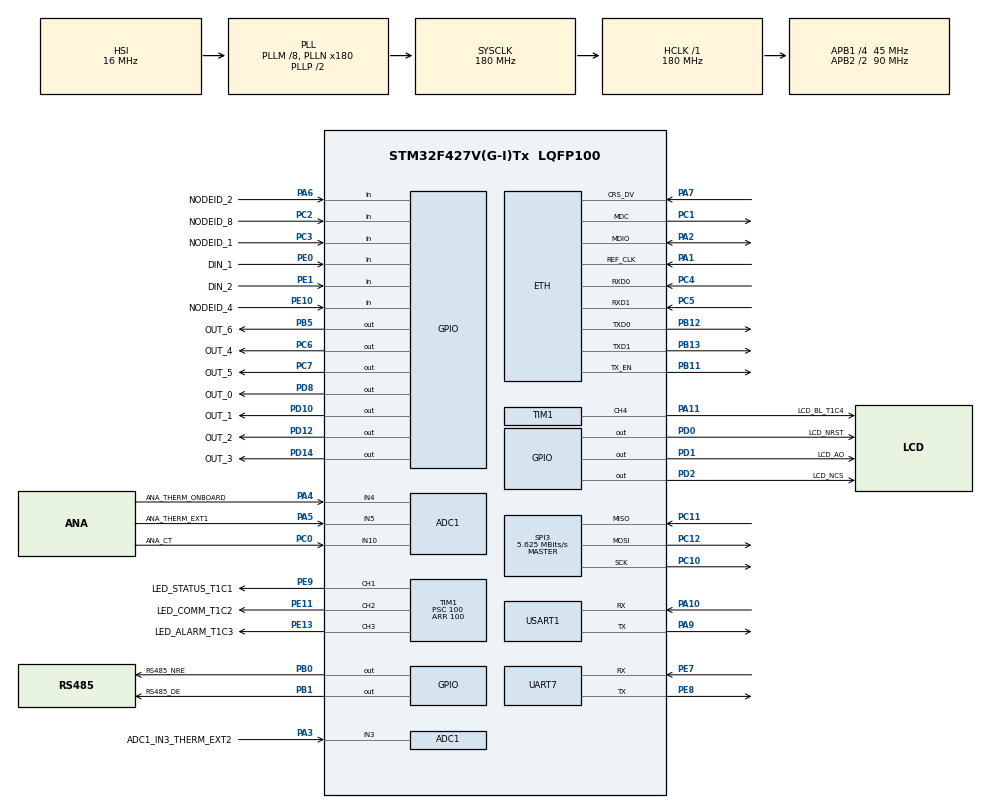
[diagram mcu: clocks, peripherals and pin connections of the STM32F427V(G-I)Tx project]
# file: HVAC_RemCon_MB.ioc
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ADC1.Channel-0\#ChannelRegularConversion=ADC_CHANNEL_TEMPSENSOR
ADC1.Channel-1\#ChannelRegularConversion=ADC_CHANNEL_4
ADC1.Channel-2\#ChannelRegularConversion=ADC_CHANNEL_5
ADC1.Channel-3\#ChannelRegularConversion=ADC_CHANNEL_3
ADC1.Channel-4\#ChannelRegularConversion=ADC_CHANNEL_10
ADC1.ClockPrescaler=ADC_CLOCK_SYNC_PCLK_DIV8
ADC1.ContinuousConvMode=ENABLE
ADC1.DMAContinuousRequests=ENABLE
ADC1.NbrOfConversion=5
ADC1.NbrOfConversionFlag=1
ADC1.Rank-0\#ChannelRegularConversion=1
ADC1.Rank-1\#ChannelRegularConversion=2
ADC1.Rank-2\#ChannelRegularConversion=3
ADC1.Rank-3\#ChannelRegularConversion=4
ADC1.Rank-4\#ChannelRegularConversion=5
ADC1.SamplingTime-0\#ChannelRegularConversion=ADC_SAMPLETIME_480CYCLES
ADC1.SamplingTime-1\#ChannelRegularConversion=ADC_SAMPLETIME_480CYCLES
ADC1.SamplingTime-2\#ChannelRegularConversion=ADC_SAMPLETIME_480CYCLES
ADC1.SamplingTime-3\#ChannelRegularConversion=ADC_SAMPLETIME_480CYCLES
ADC1.SamplingTime-4\#ChannelRegularConversion=ADC_SAMPLETIME_480CYCLES
ADC1.master=1
Dma.ADC1.0.Direction=DMA_PERIPH_TO_MEMORY
Dma.ADC1.0.FIFOMode=DMA_FIFOMODE_DISABLE
Dma.ADC1.0.Instance=DMA2_Stream0
Dma.ADC1.0.MemDataAlignment=DMA_MDATAALIGN_WORD
Dma.ADC1.0.MemInc=DMA_MINC_ENABLE
Dma.ADC1.0.Mode=DMA_CIRCULAR
Dma.ADC1.0.PeriphDataAlignment=DMA_PDATAALIGN_WORD
Dma.ADC1.0.PeriphInc=DMA_PINC_DISABLE
Dma.ADC1.0.Priority=DMA_PRIORITY_LOW
Dma.Request0=ADC1
Dma.Request1=USART1_RX
Dma.Request2=USART1_TX
Dma.Request3=UART7_RX
Dma.Request4=UART7_TX
Dma.Request5=SPI3_TX
Dma.SPI3_TX.5.Direction=DMA_MEMORY_TO_PERIPH
Dma.SPI3_TX.5.FIFOMode=DMA_FIFOMODE_DISABLE
Dma.SPI3_TX.5.Instance=DMA1_Stream5
Dma.SPI3_TX.5.MemDataAlignment=DMA_MDATAALIGN_BYTE
Dma.SPI3_TX.5.MemInc=DMA_MINC_ENABLE
Dma.SPI3_TX.5.Mode=DMA_NORMAL
Dma.SPI3_TX.5.PeriphDataAlignment=DMA_PDATAALIGN_BYTE
Dma.SPI3_TX.5.PeriphInc=DMA_PINC_DISABLE
Dma.SPI3_TX.5.Priority=DMA_PRIORITY_LOW
Dma.UART7_RX.3.Direction=DMA_PERIPH_TO_MEMORY
Dma.UART7_RX.3.FIFOMode=DMA_FIFOMODE_DISABLE
Dma.UART7_RX.3.Instance=DMA1_Stream3
Dma.UART7_RX.3.MemDataAlignment=DMA_MDATAALIGN_BYTE
Dma.UART7_RX.3.MemInc=DMA_MINC_ENABLE
Dma.UART7_RX.3.Mode=DMA_NORMAL
Dma.UART7_RX.3.PeriphDataAlignment=DMA_PDATAALIGN_BYTE
Dma.UART7_RX.3.PeriphInc=DMA_PINC_DISABLE
Dma.UART7_RX.3.Priority=DMA_PRIORITY_LOW
Dma.UART7_TX.4.Direction=DMA_MEMORY_TO_PERIPH
Dma.UART7_TX.4.FIFOMode=DMA_FIFOMODE_DISABLE
Dma.UART7_TX.4.Instance=DMA1_Stream1
Dma.UART7_TX.4.MemDataAlignment=DMA_MDATAALIGN_BYTE
Dma.UART7_TX.4.MemInc=DMA_MINC_ENABLE
Dma.UART7_TX.4.Mode=DMA_NORMAL
Dma.UART7_TX.4.PeriphDataAlignment=DMA_PDATAALIGN_BYTE
Dma.UART7_TX.4.PeriphInc=DMA_PINC_DISABLE
Dma.UART7_TX.4.Priority=DMA_PRIORITY_LOW
Dma.USART1_RX.1.Direction=DMA_PERIPH_TO_MEMORY
Dma.USART1_RX.1.FIFOMode=DMA_FIFOMODE_DISABLE
Dma.USART1_RX.1.Instance=DMA2_Stream2
Dma.USART1_RX.1.MemDataAlignment=DMA_MDATAALIGN_BYTE
Dma.USART1_RX.1.MemInc=DMA_MINC_ENABLE
Dma.USART1_RX.1.Mode=DMA_NORMAL
Dma.USART1_RX.1.PeriphDataAlignment=DMA_PDATAALIGN_BYTE
Dma.USART1_RX.1.PeriphInc=DMA_PINC_DISABLE
Dma.USART1_RX.1.Priority=DMA_PRIORITY_LOW
Dma.USART1_TX.2.Direction=DMA_MEMORY_TO_PERIPH
Dma.USART1_TX.2.FIFOMode=DMA_FIFOMODE_DISABLE
Dma.USART1_TX.2.Instance=DMA2_Stream7
Dma.USART1_TX.2.MemDataAlignment=DMA_MDATAALIGN_BYTE
Dma.USART1_TX.2.MemInc=DMA_MINC_ENABLE
Dma.USART1_TX.2.Mode=DMA_NORMAL
Dma.USART1_TX.2.PeriphDataAlignment=DMA_PDATAALIGN_BYTE
Dma.USART1_TX.2.PeriphInc=DMA_PINC_DISABLE
Dma.USART1_TX.2.Priority=DMA_PRIORITY_LOW
ETH.MediaInterface=HAL_ETH_RMII_MODE
LWIP.BSP.number=1
LWIP.ETHARP_TABLE_MATCH_NETIF=0
LWIP.HTTPD_USE_CUSTOM_FSDATA=1
LWIP.LWIP_DHCP=1
LWIP.LWIP_HTTPD=1
LWIP.LWIP_HTTPD_CGI=1
LWIP.LWIP_HTTPD_CGI_SSI=0
LWIP.LWIP_HTTPD_CUSTOM_FILES=1
LWIP.LWIP_HTTPD_DYNAMIC_HEADERS=1
LWIP.LWIP_HTTPD_SSI_BY_FILE_EXTENSION=0
LWIP.MEMP_NUM_NETCONN=10
LWIP.MEM_SIZE=16000
LWIP.TCP_WND_UPDATE_THRESHOLD=536
LWIP.Version=v2.1.2_Cube
LWIP0.BSP.STBoard=false
LWIP0.BSP.api=BSP_COMPONENT_DRIVER
LWIP0.BSP.component=LAN8742
LWIP0.BSP.instance=LAN8742
LWIP0.BSP.name=Driver_PHY
LWIP0.BSP.semaphore=S_LAN8742
LWIP0.BSP.solution=LAN8742
Mcu.Family=STM32F4
Mcu.Name=STM32F427V(G-I)Tx
Mcu.Package=LQFP100
NVIC.DMA1_Stream1_IRQn=true\:0\:0\:false\:false\:true\:false\:true\:true
NVIC.DMA1_Stream3_IRQn=true\:0\:0\:false\:false\:true\:false\:true\:true
NVIC.DMA1_Stream5_IRQn=true\:0\:0\:false\:false\:true\:false\:true\:true
NVIC.DMA2_Stream0_IRQn=true\:0\:0\:false\:false\:true\:false\:true\:true
NVIC.DMA2_Stream2_IRQn=true\:0\:0\:false\:false\:true\:false\:true\:true
NVIC.DMA2_Stream7_IRQn=true\:0\:0\:false\:false\:true\:false\:true\:true
NVIC.PriorityGroup=NVIC_PRIORITYGROUP_4
PA1.Mode=RMII
PA1.Signal=ETH_REF_CLK
PA10.Mode=Asynchronous
PA10.Signal=USART1_RX
PA11.GPIO_Label=LCD_BL_T1C4
PA11.Signal=S_TIM1_CH4
PA13.Mode=Serial_Wire
PA13.Signal=SYS_JTMS-SWDIO
PA14.Mode=Serial_Wire
PA14.Signal=SYS_JTCK-SWCLK
PA2.Mode=RMII
PA2.Signal=ETH_MDIO
PA3.GPIO_Label=ADC1_IN3_THERM_EXT2
PA3.Signal=ADCx_IN3
PA4.GPIO_Label=ANA_THERM_ONBOARD
PA4.Signal=ADCx_IN4
PA5.GPIO_Label=ANA_THERM_EXT1
PA5.Signal=ADCx_IN5
PA6.GPIO_Label=NODEID_2
PA6.GPIO_PuPd=GPIO_PULLDOWN
PA6.Signal=GPIO_Input
PA7.Mode=RMII
PA7.Signal=ETH_CRS_DV
PA9.Mode=Asynchronous
PA9.Signal=USART1_TX
PB0.GPIO_Label=RS485_NRE
PB0.Signal=GPIO_Output
PB1.GPIO_Label=RS485_DE
PB1.Signal=GPIO_Output
PB11.Mode=RMII
PB11.Signal=ETH_TX_EN
PB12.Mode=RMII
PB12.Signal=ETH_TXD0
PB13.Mode=RMII
PB13.Signal=ETH_TXD1
PB5.GPIO_Label=OUT_6
PB5.Signal=GPIO_Output
PC0.GPIO_Label=ANA_CT
PC0.Signal=ADCx_IN10
PC1.Mode=RMII
PC1.Signal=ETH_MDC
PC10.Mode=Full_Duplex_Master
PC10.Signal=SPI3_SCK
PC11.Mode=Full_Duplex_Master
PC11.Signal=SPI3_MISO
PC12.Mode=Full_Duplex_Master
PC12.Signal=SPI3_MOSI
PC14/OSC32_IN.Mode=LSE-External-Oscillator
PC14/OSC32_IN.Signal=RCC_OSC32_IN
PC15/OSC32_OUT.Mode=LSE-External-Oscillator
PC15/OSC32_OUT.Signal=RCC_OSC32_OUT
PC2.GPIO_Label=NODEID_8
PC2.GPIO_PuPd=GPIO_PULLDOWN
PC2.Signal=GPIO_Input
PC3.GPIO_Label=NODEID_1
PC3.GPIO_PuPd=GPIO_PULLDOWN
PC3.Signal=GPIO_Input
PC4.Mode=RMII
PC4.Signal=ETH_RXD0
PC5.Mode=RMII
PC5.Signal=ETH_RXD1
PC6.GPIO_Label=OUT_4
PC6.Signal=GPIO_Output
PC7.GPIO_Label=OUT_5
PC7.Signal=GPIO_Output
PD0.GPIO_Label=LCD_NRST
PD0.PinState=GPIO_PIN_SET
PD0.Signal=GPIO_Output
PD1.GPIO_Label=LCD_AO
PD1.Signal=GPIO_Output
PD10.GPIO_Label=OUT_1
PD10.Signal=GPIO_Output
PD12.GPIO_Label=OUT_2
PD12.Signal=GPIO_Output
PD14.GPIO_Label=OUT_3
PD14.Signal=GPIO_Output
PD2.GPIO_Label=LCD_NCS
PD2.PinState=GPIO_PIN_SET
PD2.Signal=GPIO_Output
PD8.GPIO_Label=OUT_0
PD8.Signal=GPIO_Output
PE0.GPIO_Label=DIN_1
PE0.Signal=GPIO_Input
PE1.GPIO_Label=DIN_2
PE1.Signal=GPIO_Input
PE10.GPIO_Label=NODEID_4
PE10.GPIO_PuPd=GPIO_PULLDOWN
PE10.Signal=GPIO_Input
PE11.GPIO_Label=LED_COMM_T1C2
PE11.Signal=S_TIM1_CH2
PE13.GPIO_Label=LED_ALARM_T1C3
PE13.Signal=S_TIM1_CH3
PE7.Mode=Asynchronous
PE7.Signal=UART7_RX
PE8.Mode=Asynchronous
PE8.Signal=UART7_TX
PE9.GPIO_Label=LED_STATUS_T1C1
PE9.Signal=S_TIM1_CH1
PH0/OSC_IN.Mode=HSE-External-Oscillator
PH0/OSC_IN.Signal=RCC_OSC_IN
PH1/OSC_OUT.Mode=HSE-External-Oscillator
PH1/OSC_OUT.Signal=RCC_OSC_OUT
ProjectManager.HeapSize=0x200
ProjectManager.StackSize=0x400
ProjectManager.TargetToolchain=STM32CubeIDE
RCC.48MHZClocksFreq_Value=90000000
RCC.AHBFreq_Value=180000000
RCC.APB1CLKDivider=RCC_HCLK_DIV4
RCC.APB1Freq_Value=45000000
RCC.APB1TimFreq_Value=90000000
RCC.APB2CLKDivider=RCC_HCLK_DIV2
RCC.APB2Freq_Value=90000000
RCC.APB2TimFreq_Value=180000000
RCC.CortexFreq_Value=180000000
RCC.HCLKFreq_Value=180000000
RCC.HSE_VALUE=8000000
RCC.HSI_VALUE=16000000
RCC.PLLM=8
RCC.PLLN=180
RCC.RCC_RTC_Clock_Source=RCC_RTCCLKSOURCE_LSE
RCC.RCC_RTC_Clock_SourceVirtual=RCC_RTCCLKSOURCE_LSE
RCC.SYSCLKFreq_VALUE=180000000
RCC.SYSCLKSource=RCC_SYSCLKSOURCE_PLLCLK
RCC.VCOOutputFreq_Value=360000000
SH.ADCx_IN10.0=ADC1_IN10,IN10
SH.ADCx_IN3.0=ADC1_IN3,IN3
SH.ADCx_IN4.0=ADC1_IN4,IN4
SH.ADCx_IN5.0=ADC1_IN5,IN5
SH.S_TIM1_CH1.0=TIM1_CH1,PWM Generation1 CH1
SH.S_TIM1_CH2.0=TIM1_CH2,PWM Generation2 CH2
SH.S_TIM1_CH3.0=TIM1_CH3,PWM Generation3 CH3
SH.S_TIM1_CH4.0=TIM1_CH4,PWM Generation4 CH4
SPI3.BaudRatePrescaler=SPI_BAUDRATEPRESCALER_8
SPI3.CalculateBaudRate=5.625 MBits/s
SPI3.Direction=SPI_DIRECTION_2LINES
SPI3.Mode=SPI_MODE_MASTER
SPI3.VirtualType=VM_MASTER
TIM1.Channel-PWM\ Generation1\ CH1=TIM_CHANNEL_1
TIM1.Channel-PWM\ Generation2\ CH2=TIM_CHANNEL_2
TIM1.Channel-PWM\ Generation3\ CH3=TIM_CHANNEL_3
TIM1.Channel-PWM\ Generation4\ CH4=TIM_CHANNEL_4
TIM1.OCPolarity_4=TIM_OCPOLARITY_LOW
TIM1.Period=100
TIM1.Prescaler=100
UART7.VirtualMode=Asynchronous
USART1.VirtualMode=VM_ASYNC
VP_ADC1_TempSens_Input.Mode=IN-TempSens
VP_LWIP_VS_Enabled.Mode=Enabled
board=custom

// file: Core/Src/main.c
/* USER CODE BEGIN Header */
/**
  ******************************************************************************
  * @file           : main.c
  * @brief          : Main program body
  ******************************************************************************
  * @attention
  *
  * Copyright (c) 2025 STMicroelectronics.
  * All rights reserved.
  *
  * This software is licensed under terms that can be found in the LICENSE file
  * in the root directory of this software component.
  * If no LICENSE file comes with this software, it is provided AS-IS.
  *
  ******************************************************************************
  */
/* USER CODE END Header */
#include "main.h"
#include "lwip.h"

/* USER CODE BEGIN Includes */
#include "nodeid.h"
#include "httpd.h"
#include "modbus_tcp.h"
#include "io_core.h"
#include "sysstatus.h"
#include "webserver.h"
#include "mqtt_client.h"
#include "lwip/netif.h"

/* USER CODE END Includes */

ADC_HandleTypeDef hadc1;
DMA_HandleTypeDef hdma_adc1;

SPI_HandleTypeDef hspi3;
DMA_HandleTypeDef hdma_spi3_tx;

TIM_HandleTypeDef htim1;

UART_HandleTypeDef huart7;
UART_HandleTypeDef huart1;
DMA_HandleTypeDef hdma_uart7_rx;
DMA_HandleTypeDef hdma_uart7_tx;
DMA_HandleTypeDef hdma_usart1_rx;
DMA_HandleTypeDef hdma_usart1_tx;

/* USER CODE BEGIN PV */
extern struct netif gnetif;  // Declared in MX_LWIP_Init()

uint8_t nodeid = 15;  //0 is reserved for host controller.
uint8_t last_nodeid = 16;	//setting it different from cur_nodeip so the display will update on first loop.

uint32_t cur_ipaddr = 0;
uint32_t last_ipaddr = 1;	//setting it different from cur_ipaddr so the display will update on first loop

uint32_t digIoLastChecked = 0;  //timer for tracking when it's time to check the dig io for display update
uint32_t digIoCheckInterval = 100;  //How many milliseconds in between io checks for display
uint8_t curInVals = 0;
uint8_t lastInVals = 255;
uint8_t curOutVals = 0;
uint8_t lastOutVals = 255;

float curTempVals[5] = {0};
float lastTempVals[5] = {-100};
uint32_t lastCheckedTemp = 0;
uint32_t tempCheckInterval = 1000;
eTempScale displayTempScale = celcius;// fahrenheit;

//uint32_t anaInLastChecked = 0;
//uint32_t anaInCheckInterval = 100;
//uint16_t curAnaVals[5] = {0};
//uint16_t lastAnaVals[5] = {0xFFFF};

/* USER CODE END PV */

void SystemClock_Config(void);
static void MX_GPIO_Init(void);
static void MX_DMA_Init(void);
static void MX_SPI3_Init(void);
static void MX_USART1_UART_Init(void);
static void MX_ADC1_Init(void);
static void MX_UART7_Init(void);
static void MX_TIM1_Init(void);
/* USER CODE BEGIN PFP */

void checkNodeId(void);
void checkIpAddr(void);
void updateDislayIO(void);
void updateDisplayTemp(void);

/* USER CODE END PFP */

/* USER CODE BEGIN 0 */

void checkNodeId(void){
	nodeid = NodeId_Get();
	if(last_nodeid != nodeid){
		last_nodeid = nodeid;
		SysStatus_UpdateNodeId(nodeid);
	}
}

void checkIpAddr(void){
	cur_ipaddr = gnetif.ip_addr.addr;
	if(last_ipaddr != cur_ipaddr){
		last_ipaddr = cur_ipaddr;
		SysStatus_UpdateIP(cur_ipaddr);
	}
}

void updateDislayIO(void){
	if(HAL_GetTick() - digIoLastChecked >= digIoCheckInterval){
		curInVals = IO_GetInputBank();
		if(lastInVals != curInVals){
			lastInVals = curInVals;
			SysStatus_UpdateInputsDisplay(curInVals);
		}

		curOutVals = IO_GetOutputLatch();
		if(lastOutVals != curOutVals){
			lastOutVals = curOutVals;
			SysStatus_UpdateOutputsDisplay(curOutVals);
		}
		digIoLastChecked = HAL_GetTick();
	}

}

void updateDisplayTemp(void){
	if(HAL_GetTick() - lastCheckedTemp >= tempCheckInterval){
		float tempDiff = 0.0f;
		for(uint8_t n=0; n<6; n++){
			curTempVals[n] = IO_GetAnalogIn(n, displayTempScale);
			tempDiff = (curTempVals[n] > lastTempVals[n] ? curTempVals[n] - lastTempVals[n] : lastTempVals[n] - curTempVals[n]);
			if(tempDiff >= 0.3){
				lastTempVals[n] = curTempVals[n];
				SysStatus_UpdateTempDisplay(n, curTempVals[n]);
			}
		}
		lastCheckedTemp = HAL_GetTick();
	}
}

/* USER CODE END 0 */

int main(void)
{

  /* MCU Configuration--------------------------------------------------------*/

  /* Reset of all peripherals, Initializes the Flash interface and the Systick. */
  HAL_Init();

  /* Configure the system clock */
  SystemClock_Config();

  /* Initialize all configured peripherals */
  MX_GPIO_Init();
  MX_DMA_Init();
  MX_SPI3_Init();
  MX_USART1_UART_Init();
  MX_LWIP_Init();
  MX_ADC1_Init();
  MX_UART7_Init();
  MX_TIM1_Init();
  /* USER CODE BEGIN 2 */

  	  SysStatus_Init(&htim1, &hspi3);
  	  IO_Core_Init(&hadc1);
  	  HAL_Delay(1000);	//Just to show splash screen
  	  SysStatus_SetSystemState(SYSTEM_STATE_BOOT);

  	  checkNodeId();	//This will read the id and update the lcd display.
  	  ModbusTCP_Init(nodeid);
  	  WebServer_Init();
  	  MQTT_Client_Init();

  /* USER CODE END 2 */

  /* Infinite loop */
  /* USER CODE BEGIN WHILE */
  while (1)
  {
	  MX_LWIP_Process();

	  // Update system state based on Ethernet link + IP
	  if (netif_is_link_up(&gnetif) && dhcp_supplied_address(&gnetif)) {
		  SysStatus_SetSystemState(SYSTEM_STATE_STABLE);
	  } else {
		  SysStatus_SetSystemState(SYSTEM_STATE_BOOT);
	  }

	  checkNodeId();
	  checkIpAddr();

	  SysStatus_Process();

	  updateDislayIO();
	  updateDisplayTemp();

	  MQTT_Client_Process();

    /* USER CODE END WHILE */

  }
}

void SystemClock_Config(void)
{
  RCC_OscInitTypeDef RCC_OscInitStruct = {0};
  RCC_ClkInitTypeDef RCC_ClkInitStruct = {0};

  /** Configure the main internal regulator output voltage
  */
  __HAL_RCC_PWR_CLK_ENABLE();
  __HAL_PWR_VOLTAGESCALING_CONFIG(PWR_REGULATOR_VOLTAGE_SCALE1);

  /** Initializes the RCC Oscillators according to the specified parameters
  * in the RCC_OscInitTypeDef structure.
  */
  RCC_OscInitStruct.OscillatorType = RCC_OSCILLATORTYPE_HSI;
  RCC_OscInitStruct.HSIState = RCC_HSI_ON;
  RCC_OscInitStruct.HSICalibrationValue = RCC_HSICALIBRATION_DEFAULT;
  RCC_OscInitStruct.PLL.PLLState = RCC_PLL_ON;
  RCC_OscInitStruct.PLL.PLLSource = RCC_PLLSOURCE_HSI;
  RCC_OscInitStruct.PLL.PLLM = 8;
  RCC_OscInitStruct.PLL.PLLN = 180;
  RCC_OscInitStruct.PLL.PLLP = RCC_PLLP_DIV2;
  RCC_OscInitStruct.PLL.PLLQ = 4;
  if (HAL_RCC_OscConfig(&RCC_OscInitStruct) != HAL_OK)
  {
    Error_Handler();
  }

  /** Activate the Over-Drive mode
  */
  if (HAL_PWREx_EnableOverDrive() != HAL_OK)
  {
    Error_Handler();
  }

  /** Initializes the CPU, AHB and APB buses clocks
  */
  RCC_ClkInitStruct.ClockType = RCC_CLOCKTYPE_HCLK|RCC_CLOCKTYPE_SYSCLK
                              |RCC_CLOCKTYPE_PCLK1|RCC_CLOCKTYPE_PCLK2;
  RCC_ClkInitStruct.SYSCLKSource = RCC_SYSCLKSOURCE_PLLCLK;
  RCC_ClkInitStruct.AHBCLKDivider = RCC_SYSCLK_DIV1;
  RCC_ClkInitStruct.APB1CLKDivider = RCC_HCLK_DIV4;
  RCC_ClkInitStruct.APB2CLKDivider = RCC_HCLK_DIV2;

  if (HAL_RCC_ClockConfig(&RCC_ClkInitStruct, FLASH_LATENCY_5) != HAL_OK)
  {
    Error_Handler();
  }
}

static void MX_ADC1_Init(void)
{

  ADC_ChannelConfTypeDef sConfig = {0};

  /** Configure the global features of the ADC (Clock, Resolution, Data Alignment and number of conversion)
  */
  hadc1.Instance = ADC1;
  hadc1.Init.ClockPrescaler = ADC_CLOCK_SYNC_PCLK_DIV8;
  hadc1.Init.Resolution = ADC_RESOLUTION_12B;
  hadc1.Init.ScanConvMode = ENABLE;
  hadc1.Init.ContinuousConvMode = ENABLE;
  hadc1.Init.DiscontinuousConvMode = DISABLE;
  hadc1.Init.ExternalTrigConvEdge = ADC_EXTERNALTRIGCONVEDGE_NONE;
  hadc1.Init.ExternalTrigConv = ADC_SOFTWARE_START;
  hadc1.Init.DataAlign = ADC_DATAALIGN_RIGHT;
  hadc1.Init.NbrOfConversion = 5;
  hadc1.Init.DMAContinuousRequests = ENABLE;
  hadc1.Init.EOCSelection = ADC_EOC_SINGLE_CONV;
  if (HAL_ADC_Init(&hadc1) != HAL_OK)
  {
    Error_Handler();
  }

  /** Configure for the selected ADC regular channel its corresponding rank in the sequencer and its sample time.
  */
  sConfig.Channel = ADC_CHANNEL_TEMPSENSOR;
  sConfig.Rank = 1;
  sConfig.SamplingTime = ADC_SAMPLETIME_480CYCLES;
  if (HAL_ADC_ConfigChannel(&hadc1, &sConfig) != HAL_OK)
  {
    Error_Handler();
  }

  /** Configure for the selected ADC regular channel its corresponding rank in the sequencer and its sample time.
  */
  sConfig.Channel = ADC_CHANNEL_4;
  sConfig.Rank = 2;
  if (HAL_ADC_ConfigChannel(&hadc1, &sConfig) != HAL_OK)
  {
    Error_Handler();
  }

  /** Configure for the selected ADC regular channel its corresponding rank in the sequencer and its sample time.
  */
  sConfig.Channel = ADC_CHANNEL_5;
  sConfig.Rank = 3;
  if (HAL_ADC_ConfigChannel(&hadc1, &sConfig) != HAL_OK)
  {
    Error_Handler();
  }

  /** Configure for the selected ADC regular channel its corresponding rank in the sequencer and its sample time.
  */
  sConfig.Channel = ADC_CHANNEL_3;
  sConfig.Rank = 4;
  if (HAL_ADC_ConfigChannel(&hadc1, &sConfig) != HAL_OK)
  {
    Error_Handler();
  }

  /** Configure for the selected ADC regular channel its corresponding rank in the sequencer and its sample time.
  */
  sConfig.Channel = ADC_CHANNEL_10;
  sConfig.Rank = 5;
  if (HAL_ADC_ConfigChannel(&hadc1, &sConfig) != HAL_OK)
  {
    Error_Handler();
  }

}

static void MX_SPI3_Init(void)
{

  /* SPI3 parameter configuration*/
  hspi3.Instance = SPI3;
  hspi3.Init.Mode = SPI_MODE_MASTER;
  hspi3.Init.Direction = SPI_DIRECTION_2LINES;
  hspi3.Init.DataSize = SPI_DATASIZE_8BIT;
  hspi3.Init.CLKPolarity = SPI_POLARITY_LOW;
  hspi3.Init.CLKPhase = SPI_PHASE_1EDGE;
  hspi3.Init.NSS = SPI_NSS_SOFT;
  hspi3.Init.BaudRatePrescaler = SPI_BAUDRATEPRESCALER_8;
  hspi3.Init.FirstBit = SPI_FIRSTBIT_MSB;
  hspi3.Init.TIMode = SPI_TIMODE_DISABLE;
  hspi3.Init.CRCCalculation = SPI_CRCCALCULATION_DISABLE;
  hspi3.Init.CRCPolynomial = 10;
  if (HAL_SPI_Init(&hspi3) != HAL_OK)
  {
    Error_Handler();
  }

}

static void MX_TIM1_Init(void)
{

  TIM_MasterConfigTypeDef sMasterConfig = {0};
  TIM_OC_InitTypeDef sConfigOC = {0};
  TIM_BreakDeadTimeConfigTypeDef sBreakDeadTimeConfig = {0};

  htim1.Instance = TIM1;
  htim1.Init.Prescaler = 100;
  htim1.Init.CounterMode = TIM_COUNTERMODE_UP;
  htim1.Init.Period = 100;
  htim1.Init.ClockDivision = TIM_CLOCKDIVISION_DIV1;
  htim1.Init.RepetitionCounter = 0;
  htim1.Init.AutoReloadPreload = TIM_AUTORELOAD_PRELOAD_DISABLE;
  if (HAL_TIM_PWM_Init(&htim1) != HAL_OK)
  {
    Error_Handler();
  }
  sMasterConfig.MasterOutputTrigger = TIM_TRGO_RESET;
  sMasterConfig.MasterSlaveMode = TIM_MASTERSLAVEMODE_DISABLE;
  if (HAL_TIMEx_MasterConfigSynchronization(&htim1, &sMasterConfig) != HAL_OK)
  {
    Error_Handler();
  }
  sConfigOC.OCMode = TIM_OCMODE_PWM1;
  sConfigOC.Pulse = 0;
  sConfigOC.OCPolarity = TIM_OCPOLARITY_HIGH;
  sConfigOC.OCNPolarity = TIM_OCNPOLARITY_HIGH;
  sConfigOC.OCFastMode = TIM_OCFAST_DISABLE;
  sConfigOC.OCIdleState = TIM_OCIDLESTATE_RESET;
  sConfigOC.OCNIdleState = TIM_OCNIDLESTATE_RESET;
  if (HAL_TIM_PWM_ConfigChannel(&htim1, &sConfigOC, TIM_CHANNEL_1) != HAL_OK)
  {
    Error_Handler();
  }
  if (HAL_TIM_PWM_ConfigChannel(&htim1, &sConfigOC, TIM_CHANNEL_2) != HAL_OK)
  {
    Error_Handler();
  }
  if (HAL_TIM_PWM_ConfigChannel(&htim1, &sConfigOC, TIM_CHANNEL_3) != HAL_OK)
  {
    Error_Handler();
  }
  sConfigOC.OCPolarity = TIM_OCPOLARITY_LOW;
  if (HAL_TIM_PWM_ConfigChannel(&htim1, &sConfigOC, TIM_CHANNEL_4) != HAL_OK)
  {
    Error_Handler();
  }
  sBreakDeadTimeConfig.OffStateRunMode = TIM_OSSR_DISABLE;
  sBreakDeadTimeConfig.OffStateIDLEMode = TIM_OSSI_DISABLE;
  sBreakDeadTimeConfig.LockLevel = TIM_LOCKLEVEL_OFF;
  sBreakDeadTimeConfig.DeadTime = 0;
  sBreakDeadTimeConfig.BreakState = TIM_BREAK_DISABLE;
  sBreakDeadTimeConfig.BreakPolarity = TIM_BREAKPOLARITY_HIGH;
  sBreakDeadTimeConfig.AutomaticOutput = TIM_AUTOMATICOUTPUT_DISABLE;
  if (HAL_TIMEx_ConfigBreakDeadTime(&htim1, &sBreakDeadTimeConfig) != HAL_OK)
  {
    Error_Handler();
  }
  HAL_TIM_MspPostInit(&htim1);

}

static void MX_UART7_Init(void)
{

  huart7.Instance = UART7;
  huart7.Init.BaudRate = 115200;
  huart7.Init.WordLength = UART_WORDLENGTH_8B;
  huart7.Init.StopBits = UART_STOPBITS_1;
  huart7.Init.Parity = UART_PARITY_NONE;
  huart7.Init.Mode = UART_MODE_TX_RX;
  huart7.Init.HwFlowCtl = UART_HWCONTROL_NONE;
  huart7.Init.OverSampling = UART_OVERSAMPLING_16;
  if (HAL_UART_Init(&huart7) != HAL_OK)
  {
    Error_Handler();
  }

}

static void MX_USART1_UART_Init(void)
{

  huart1.Instance = USART1;
  huart1.Init.BaudRate = 115200;
  huart1.Init.WordLength = UART_WORDLENGTH_8B;
  huart1.Init.StopBits = UART_STOPBITS_1;
  huart1.Init.Parity = UART_PARITY_NONE;
  huart1.Init.Mode = UART_MODE_TX_RX;
  huart1.Init.HwFlowCtl = UART_HWCONTROL_NONE;
  huart1.Init.OverSampling = UART_OVERSAMPLING_16;
  if (HAL_UART_Init(&huart1) != HAL_OK)
  {
    Error_Handler();
  }

}

static void MX_DMA_Init(void)
{

  /* DMA controller clock enable */
  __HAL_RCC_DMA2_CLK_ENABLE();
  __HAL_RCC_DMA1_CLK_ENABLE();

  /* DMA interrupt init */
  /* DMA1_Stream1_IRQn interrupt configuration */
  HAL_NVIC_SetPriority(DMA1_Stream1_IRQn, 0, 0);
  HAL_NVIC_EnableIRQ(DMA1_Stream1_IRQn);
  /* DMA1_Stream3_IRQn interrupt configuration */
  HAL_NVIC_SetPriority(DMA1_Stream3_IRQn, 0, 0);
  HAL_NVIC_EnableIRQ(DMA1_Stream3_IRQn);
  /* DMA1_Stream5_IRQn interrupt configuration */
  HAL_NVIC_SetPriority(DMA1_Stream5_IRQn, 0, 0);
  HAL_NVIC_EnableIRQ(DMA1_Stream5_IRQn);
  /* DMA2_Stream0_IRQn interrupt configuration */
  HAL_NVIC_SetPriority(DMA2_Stream0_IRQn, 0, 0);
  HAL_NVIC_EnableIRQ(DMA2_Stream0_IRQn);
  /* DMA2_Stream2_IRQn interrupt configuration */
  HAL_NVIC_SetPriority(DMA2_Stream2_IRQn, 0, 0);
  HAL_NVIC_EnableIRQ(DMA2_Stream2_IRQn);
  /* DMA2_Stream7_IRQn interrupt configuration */
  HAL_NVIC_SetPriority(DMA2_Stream7_IRQn, 0, 0);
  HAL_NVIC_EnableIRQ(DMA2_Stream7_IRQn);

}

static void MX_GPIO_Init(void)
{
  GPIO_InitTypeDef GPIO_InitStruct = {0};

  /* GPIO Ports Clock Enable */
  __HAL_RCC_GPIOC_CLK_ENABLE();
  __HAL_RCC_GPIOH_CLK_ENABLE();
  __HAL_RCC_GPIOA_CLK_ENABLE();
  __HAL_RCC_GPIOB_CLK_ENABLE();
  __HAL_RCC_GPIOE_CLK_ENABLE();
  __HAL_RCC_GPIOD_CLK_ENABLE();

  /*Configure GPIO pin Output Level */
  HAL_GPIO_WritePin(GPIOB, RS485_NRE_Pin|RS485_DE_Pin|OUT_6_Pin, GPIO_PIN_RESET);

  /*Configure GPIO pin Output Level */
  HAL_GPIO_WritePin(GPIOD, OUT_0_Pin|OUT_1_Pin|OUT_2_Pin|OUT_3_Pin
                          |LCD_AO_Pin, GPIO_PIN_RESET);

  /*Configure GPIO pin Output Level */
  HAL_GPIO_WritePin(GPIOC, OUT_4_Pin|OUT_5_Pin, GPIO_PIN_RESET);

  /*Configure GPIO pin Output Level */
  HAL_GPIO_WritePin(GPIOD, LCD_NRST_Pin|LCD_NCS_Pin, GPIO_PIN_SET);

  /*Configure GPIO pins : NODEID_8_Pin NODEID_1_Pin */
  GPIO_InitStruct.Pin = NODEID_8_Pin|NODEID_1_Pin;
  GPIO_InitStruct.Mode = GPIO_MODE_INPUT;
  GPIO_InitStruct.Pull = GPIO_PULLDOWN;
  HAL_GPIO_Init(GPIOC, &GPIO_InitStruct);

  /*Configure GPIO pin : NODEID_2_Pin */
  GPIO_InitStruct.Pin = NODEID_2_Pin;
  GPIO_InitStruct.Mode = GPIO_MODE_INPUT;
  GPIO_InitStruct.Pull = GPIO_PULLDOWN;
  HAL_GPIO_Init(NODEID_2_GPIO_Port, &GPIO_InitStruct);

  /*Configure GPIO pins : RS485_NRE_Pin RS485_DE_Pin OUT_6_Pin */
  GPIO_InitStruct.Pin = RS485_NRE_Pin|RS485_DE_Pin|OUT_6_Pin;
  GPIO_InitStruct.Mode = GPIO_MODE_OUTPUT_PP;
  GPIO_InitStruct.Pull = GPIO_NOPULL;
  GPIO_InitStruct.Speed = GPIO_SPEED_FREQ_LOW;
  HAL_GPIO_Init(GPIOB, &GPIO_InitStruct);

  /*Configure GPIO pin : NODEID_4_Pin */
  GPIO_InitStruct.Pin = NODEID_4_Pin;
  GPIO_InitStruct.Mode = GPIO_MODE_INPUT;
  GPIO_InitStruct.Pull = GPIO_PULLDOWN;
  HAL_GPIO_Init(NODEID_4_GPIO_Port, &GPIO_InitStruct);

  /*Configure GPIO pins : OUT_0_Pin OUT_1_Pin OUT_2_Pin OUT_3_Pin
                           LCD_NRST_Pin LCD_AO_Pin LCD_NCS_Pin */
  GPIO_InitStruct.Pin = OUT_0_Pin|OUT_1_Pin|OUT_2_Pin|OUT_3_Pin
                          |LCD_NRST_Pin|LCD_AO_Pin|LCD_NCS_Pin;
  GPIO_InitStruct.Mode = GPIO_MODE_OUTPUT_PP;
  GPIO_InitStruct.Pull = GPIO_NOPULL;
  GPIO_InitStruct.Speed = GPIO_SPEED_FREQ_LOW;
  HAL_GPIO_Init(GPIOD, &GPIO_InitStruct);

  /*Configure GPIO pins : OUT_4_Pin OUT_5_Pin */
  GPIO_InitStruct.Pin = OUT_4_Pin|OUT_5_Pin;
  GPIO_InitStruct.Mode = GPIO_MODE_OUTPUT_PP;
  GPIO_InitStruct.Pull = GPIO_NOPULL;
  GPIO_InitStruct.Speed = GPIO_SPEED_FREQ_LOW;
  HAL_GPIO_Init(GPIOC, &GPIO_InitStruct);

  /*Configure GPIO pins : DIN_1_Pin DIN_2_Pin */
  GPIO_InitStruct.Pin = DIN_1_Pin|DIN_2_Pin;
  GPIO_InitStruct.Mode = GPIO_MODE_INPUT;
  GPIO_InitStruct.Pull = GPIO_NOPULL;
  HAL_GPIO_Init(GPIOE, &GPIO_InitStruct);

}

void Error_Handler(void)
{
  __disable_irq();
  while (1)
  {
  }
}
